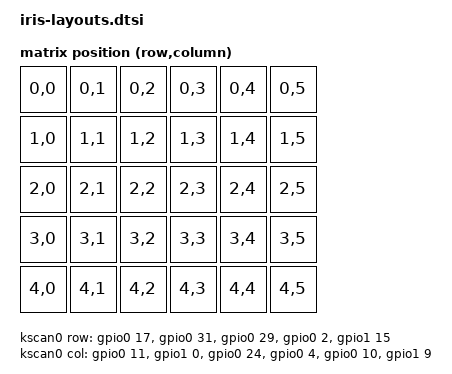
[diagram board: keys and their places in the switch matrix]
/*
 * Copyright (c) 2026 Your Name
 * SPDX-License-Identifier: MIT
 */

#include <dt-bindings/zmk/matrix_transform.h>

/ {
    chosen {
        zmk,kscan = &kscan0;
        zmk,matrix-transform = &default_transform;
    };

    default_transform: keymap_transform_0 {
        compatible = "zmk,matrix-transform";
        columns = <6>;
        rows = <5>;
        
        // Map the physical keys to the matrix rows (R) and columns (C)
        map = <
    RC(0,0) RC(0,1) RC(0,2) RC(0,3) RC(0,4) RC(0,5)
    RC(1,0) RC(1,1) RC(1,2) RC(1,3) RC(1,4) RC(1,5)
    RC(2,0) RC(2,1) RC(2,2) RC(2,3) RC(2,4) RC(2,5)
    RC(3,0) RC(3,1) RC(3,2) RC(3,3) RC(3,4) RC(3,5)
    RC(4,0) RC(4,1) RC(4,2) RC(4,3) RC(4,4) RC(4,5)
        >;
    };

    kscan0: kscan {
        compatible = "zmk,kscan-gpio-matrix";
        wakeup-source;

        // Change to "row2col" if your physical diodes point from rows to columns
        diode-direction = "col2row";

        row-gpios
            = <&gpio0 17 (GPIO_ACTIVE_LOW | GPIO_PULL_UP)> // Pro Micro 15 (P0.17)
            , <&gpio0 31 (GPIO_ACTIVE_LOW | GPIO_PULL_UP)> // Pro Micro 18 (P0.31)
            , <&gpio0 29 (GPIO_ACTIVE_LOW | GPIO_PULL_UP)> // Pro Micro 19 (P0.29)
            , <&gpio0  2 (GPIO_ACTIVE_LOW | GPIO_PULL_UP)> // Pro Micro 20 (P0.02)
            , <&gpio1 15 (GPIO_ACTIVE_LOW | GPIO_PULL_UP)> // Pro Micro 21 (P1.15)
            ;

        col-gpios
            = <&gpio0 11 (GPIO_ACTIVE_LOW | GPIO_PULL_UP)> // Pro Micro 7 = P0.11
            , <&gpio1  0 (GPIO_ACTIVE_LOW | GPIO_PULL_UP)> // Pro Micro 8 = P1.00
            , <&gpio0 24 (GPIO_ACTIVE_LOW | GPIO_PULL_UP)> // Pro Micro 9 = P0.24
            , <&gpio0  4 (GPIO_ACTIVE_LOW | GPIO_PULL_UP)> // Pro Micro 14 = P0.09
            , <&gpio0 10 (GPIO_ACTIVE_LOW | GPIO_PULL_UP)> // Pro Micro 16 = P0.10
            , <&gpio1  9 (GPIO_ACTIVE_LOW | GPIO_PULL_UP)> // Pro Micro 10 = P1.04
            ;
    };
};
